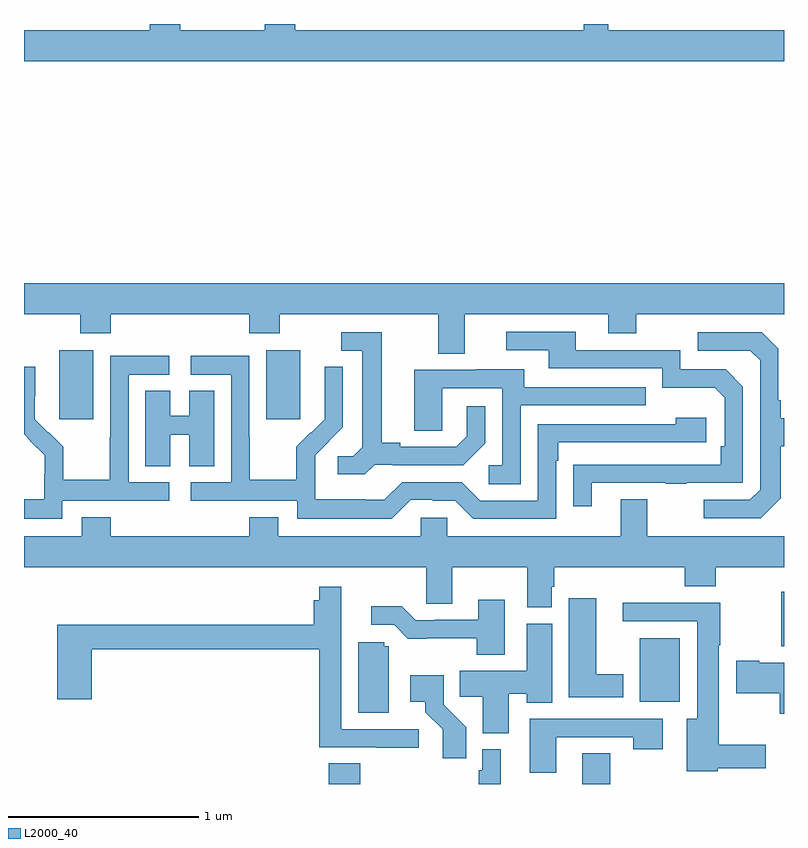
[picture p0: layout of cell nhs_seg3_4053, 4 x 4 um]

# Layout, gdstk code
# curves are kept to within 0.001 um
import gdstk
lib = gdstk.Library(unit=1e-6, precision=1e-09)
def R(c, l, rs):  # rectangles x0, y0, x1, y1
    for r in rs: c.add(gdstk.rectangle(r[:2], r[2:], *l))
def P(c, l, *ps):  # polygons
    for p in ps: c.add(gdstk.Polygon(p, *l))
L2000_40 = (2000, 40)

nhs_seg3_4053 = lib.new_cell('nhs_seg3_4053')
R(nhs_seg3_4053, L2000_40, [(324.605,742.4,324.77,742.508), (325.937,742.4,326.085,742.562), (326.24,742.832,326.452,743.167), (326.986,743.126,327,743.413), (323.186,744.321,323.365,744.682), (324.275,744.321,324.454,744.682)])
P(nhs_seg3_4053, L2000_40, [(327,746.368),(326.074,746.368),(326.074,746.4),(325.945,746.4),(325.945,746.368),(324.428,746.368),(324.428,746.4),(324.268,746.4),(324.268,746.368),(323.823,746.368),(323.823,746.4),(323.663,746.4),(323.663,746.368),(323,746.368),(323,746.204),(327,746.204)],
  [(325.321,744.872),(326.075,744.872),(326.075,744.773),(326.223,744.773),(326.223,744.872),(327,744.872),(327,745.036),(323,745.036),(323,744.872),(323.296,744.872),(323.296,744.773),(323.456,744.773),(323.456,744.872),(324.185,744.872),(324.185,744.773),(324.345,744.773),(324.345,744.872),(325.181,744.872),(325.181,744.664),(325.321,744.664)],
  [(325.987,743.985),(326.377,743.985),(326.377,743.98),(326.489,743.98),(326.489,743.985),(326.784,743.985),(326.784,744.492),(326.694,744.582),(326.454,744.582),(326.454,744.684),(325.903,744.684),(325.903,744.78),(325.539,744.78),(325.539,744.684),(325.763,744.684),(325.763,744.588),(326.358,744.588),(326.358,744.485),(326.635,744.485),(326.688,744.432),(326.688,744.178),(326.668,744.178),(326.668,744.081),(325.891,744.08),(325.891,743.862),(325.987,743.862)],
  [(324.846,744.081),(324.94,744.081),(324.94,744.078),(325.312,744.078),(325.428,744.194),(325.428,744.388),(325.331,744.388),(325.331,744.231),(325.274,744.174),(324.979,744.174),(324.979,744.197),(324.883,744.197),(324.883,744.777),(324.669,744.777),(324.669,744.681),(324.779,744.681),(324.779,744.173),(324.732,744.126),(324.651,744.126),(324.651,744.029),(324.794,744.029)],
  [(326.983,743.905),(326.983,744.178),(327,744.178),(327,744.325),(326.983,744.325),(326.983,744.421),(326.97,744.421),(326.97,744.69),(326.883,744.777),(326.547,744.777),(326.547,744.681),(326.823,744.681),(326.874,744.63),(326.874,743.949),(326.82,743.895),(326.577,743.895),(326.577,743.799),(326.877,743.799)],
  [(325.035,743.895),(325.151,743.895),(325.151,743.892),(325.269,743.892),(325.365,743.796),(325.8,743.796),(325.8,744.101),(325.813,744.101),(325.813,744.198),(326.59,744.198),(326.59,744.328),(326.429,744.328),(326.429,744.294),(325.704,744.294),(325.704,743.892),(325.401,743.892),(325.305,743.988),(324.99,743.988),(324.897,743.895),(324.797,743.895),(324.797,743.899),(324.534,743.899),(324.534,744.033),(324.532,744.033),(324.532,744.13),(324.678,744.278),(324.678,744.596),(324.582,744.596),(324.582,744.442),(324.584,744.442),(324.584,744.32),(324.513,744.249),(324.51,744.252),(324.433,744.175),(324.433,744.001),(324.189,744.001),(324.189,744.224),(324.186,744.224),(324.186,744.654),(323.877,744.654),(323.877,744.555),(324.09,744.555),(324.09,743.988),(323.877,743.988),(323.877,743.892),(324.438,743.892),(324.438,743.795),(324.935,743.795)],
  [(323.202,743.892),(323.764,743.892),(323.764,743.988),(323.55,743.988),(323.55,744.555),(323.764,744.555),(323.764,744.654),(323.454,744.654),(323.454,744.224),(323.452,744.224),(323.452,744.001),(323.207,744.001),(323.207,744.175),(323.13,744.252),(323.127,744.249),(323.057,744.32),(323.058,744.596),(323,744.596),(323,744.24),(323.108,744.13),(323.108,744.033),(323.106,744.033),(323.106,743.899),(323,743.899),(323,743.795),(323.202,743.795)],
  [(325.614,744.393),(326.273,744.393),(326.273,744.489),(325.633,744.489),(325.633,744.583),(325.379,744.583),(325.379,744.579),(325.055,744.579),(325.055,744.259),(325.2,744.259),(325.2,744.483),(325.518,744.483),(325.518,744.078),(325.446,744.078),(325.446,743.977),(325.614,743.977)],
  [(323.77,744.238),(323.87,744.238),(323.87,744.073),(324.001,744.073),(324.001,744.47),(323.87,744.47),(323.87,744.338),(323.77,744.338),(323.77,744.47),(323.639,744.47),(323.639,744.073),(323.77,744.073)],
  [(325.777,743.439),(325.79,743.439),(325.79,743.54),(326.477,743.54),(326.477,743.441),(326.642,743.441),(326.642,743.54),(327,743.54),(327,743.704),(326.281,743.704),(326.281,743.899),(326.141,743.899),(326.141,743.704),(325.227,743.704),(325.227,743.802),(325.089,743.802),(325.089,743.704),(324.337,743.704),(324.337,743.803),(324.185,743.803),(324.185,743.704),(323.456,743.704),(323.456,743.803),(323.303,743.803),(323.303,743.704),(323,743.704),(323,743.54),(325.116,743.54),(325.116,743.35),(325.255,743.35),(325.255,743.54),(325.649,743.54),(325.649,743.329),(325.777,743.329)],
  [(325.078,742.689),(324.669,742.689),(324.669,743.437),(324.553,743.437),(324.553,743.368),(324.524,743.368),(324.524,743.239),(323.174,743.239),(323.174,742.845),(323.357,742.845),(323.357,743.11),(324.553,743.11),(324.553,742.593),(324.853,742.593),(324.853,742.591),(325.078,742.591)],
  [(326.155,742.978),(326.011,742.978),(326.011,743.377),(325.868,743.377),(325.868,742.856),(326.155,742.856)],
  [(325.531,743.371),(325.391,743.371),(325.391,743.265),(325.162,743.265),(325.162,743.262),(325.062,743.262),(324.989,743.335),(324.828,743.335),(324.828,743.238),(324.948,743.238),(325.021,743.165),(325.384,743.166),(325.384,743.081),(325.531,743.081)],
  [(326.652,742.484),(326.905,742.484),(326.905,742.606),(326.656,742.606),(326.656,743.131),(326.664,743.131),(326.664,743.354),(326.151,743.354),(326.151,743.256),(326.543,743.256),(326.543,742.744),(326.489,742.744),(326.489,742.466),(326.652,742.466)],
  [(325.552,742.874),(325.646,742.874),(325.646,742.828),(325.78,742.828),(325.78,743.244),(325.646,743.244),(325.646,742.996),(325.294,742.996),(325.294,742.858),(325.415,742.858),(325.415,742.667),(325.552,742.667)],
  [(324.919,743.124),(324.897,743.124),(324.897,743.145),(324.758,743.145),(324.758,742.776),(324.919,742.776)],
  [(327,743.038),(326.871,743.038),(326.871,743.048),(326.748,743.048),(326.748,742.877),(326.978,742.877),(326.978,742.769),(327,742.769)],
  [(325.328,742.698),(325.209,742.817),(325.209,742.972),(325.032,742.972),(325.032,742.832),(325.112,742.832),(325.112,742.777),(325.203,742.687),(325.203,742.536),(325.328,742.536)],
  [(325.801,742.647),(326.206,742.647),(326.206,742.584),(326.362,742.584),(326.362,742.743),(325.661,742.743),(325.661,742.458),(325.801,742.458)],
  [(325.51,742.582),(325.413,742.582),(325.413,742.473),(325.393,742.473),(325.393,742.4),(325.51,742.4)])

lib.write_gds('nhs_seg3_4053.gds')
